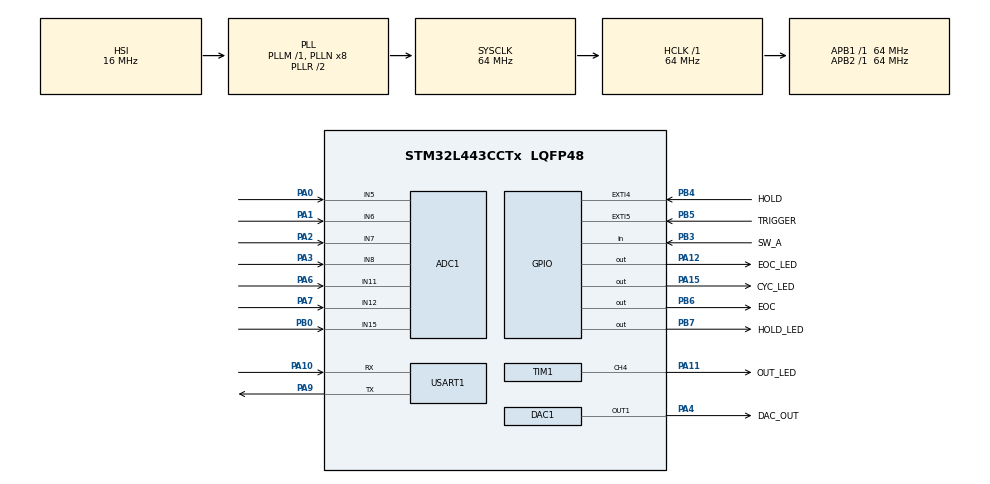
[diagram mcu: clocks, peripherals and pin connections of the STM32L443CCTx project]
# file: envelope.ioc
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ADC1.Channel-0\#ChannelRegularConversion=ADC_CHANNEL_5
ADC1.Channel-1\#ChannelRegularConversion=ADC_CHANNEL_6
ADC1.Channel-2\#ChannelRegularConversion=ADC_CHANNEL_7
ADC1.Channel-3\#ChannelRegularConversion=ADC_CHANNEL_8
ADC1.Channel-4\#ChannelRegularConversion=ADC_CHANNEL_11
ADC1.Channel-5\#ChannelRegularConversion=ADC_CHANNEL_12
ADC1.Channel-6\#ChannelRegularConversion=ADC_CHANNEL_15
ADC1.ClockPrescaler=ADC_CLOCK_ASYNC_DIV4
ADC1.DMAContinuousRequests=ENABLE
ADC1.EOCSelection=ADC_EOC_SINGLE_CONV
ADC1.ExternalTrigConv=ADC_EXTERNALTRIG_T2_TRGO
ADC1.NbrOfConversion=7
ADC1.NbrOfConversionFlag=1
ADC1.OffsetNumber-0\#ChannelRegularConversion=ADC_OFFSET_NONE
ADC1.OffsetNumber-1\#ChannelRegularConversion=ADC_OFFSET_NONE
ADC1.OffsetNumber-2\#ChannelRegularConversion=ADC_OFFSET_NONE
ADC1.OffsetNumber-3\#ChannelRegularConversion=ADC_OFFSET_NONE
ADC1.OffsetNumber-4\#ChannelRegularConversion=ADC_OFFSET_NONE
ADC1.OffsetNumber-5\#ChannelRegularConversion=ADC_OFFSET_NONE
ADC1.OffsetNumber-6\#ChannelRegularConversion=ADC_OFFSET_NONE
ADC1.OversamplingMode=DISABLE
ADC1.Rank-0\#ChannelRegularConversion=1
ADC1.Rank-1\#ChannelRegularConversion=2
ADC1.Rank-2\#ChannelRegularConversion=3
ADC1.Rank-3\#ChannelRegularConversion=4
ADC1.Rank-4\#ChannelRegularConversion=5
ADC1.Rank-5\#ChannelRegularConversion=6
ADC1.Rank-6\#ChannelRegularConversion=7
ADC1.SamplingTime-0\#ChannelRegularConversion=ADC_SAMPLETIME_6CYCLES_5
ADC1.SamplingTime-1\#ChannelRegularConversion=ADC_SAMPLETIME_6CYCLES_5
ADC1.SamplingTime-2\#ChannelRegularConversion=ADC_SAMPLETIME_6CYCLES_5
ADC1.SamplingTime-3\#ChannelRegularConversion=ADC_SAMPLETIME_6CYCLES_5
ADC1.SamplingTime-4\#ChannelRegularConversion=ADC_SAMPLETIME_6CYCLES_5
ADC1.SamplingTime-5\#ChannelRegularConversion=ADC_SAMPLETIME_6CYCLES_5
ADC1.SamplingTime-6\#ChannelRegularConversion=ADC_SAMPLETIME_6CYCLES_5
ADC1.master=1
DAC1.DAC_Trigger-DAC_OUT1_ExtAndInt=DAC_TRIGGER_T2_TRGO
Dma.ADC1.2.Direction=DMA_PERIPH_TO_MEMORY
Dma.ADC1.2.Instance=DMA1_Channel1
Dma.ADC1.2.MemDataAlignment=DMA_MDATAALIGN_HALFWORD
Dma.ADC1.2.MemInc=DMA_MINC_ENABLE
Dma.ADC1.2.Mode=DMA_CIRCULAR
Dma.ADC1.2.PeriphDataAlignment=DMA_PDATAALIGN_HALFWORD
Dma.ADC1.2.PeriphInc=DMA_PINC_DISABLE
Dma.ADC1.2.Priority=DMA_PRIORITY_MEDIUM
Dma.DAC_CH1.3.Direction=DMA_MEMORY_TO_PERIPH
Dma.DAC_CH1.3.Instance=DMA1_Channel3
Dma.DAC_CH1.3.MemDataAlignment=DMA_MDATAALIGN_HALFWORD
Dma.DAC_CH1.3.MemInc=DMA_MINC_ENABLE
Dma.DAC_CH1.3.Mode=DMA_NORMAL
Dma.DAC_CH1.3.PeriphDataAlignment=DMA_PDATAALIGN_HALFWORD
Dma.DAC_CH1.3.PeriphInc=DMA_PINC_DISABLE
Dma.DAC_CH1.3.Priority=DMA_PRIORITY_MEDIUM
Dma.Request0=USART1_RX
Dma.Request1=USART1_TX
Dma.Request2=ADC1
Dma.Request3=DAC_CH1
Dma.USART1_RX.0.Direction=DMA_PERIPH_TO_MEMORY
Dma.USART1_RX.0.Instance=DMA1_Channel5
Dma.USART1_RX.0.MemDataAlignment=DMA_MDATAALIGN_BYTE
Dma.USART1_RX.0.MemInc=DMA_MINC_ENABLE
Dma.USART1_RX.0.Mode=DMA_NORMAL
Dma.USART1_RX.0.PeriphDataAlignment=DMA_PDATAALIGN_BYTE
Dma.USART1_RX.0.PeriphInc=DMA_PINC_DISABLE
Dma.USART1_RX.0.Priority=DMA_PRIORITY_LOW
Dma.USART1_TX.1.Direction=DMA_MEMORY_TO_PERIPH
Dma.USART1_TX.1.Instance=DMA1_Channel4
Dma.USART1_TX.1.MemDataAlignment=DMA_MDATAALIGN_BYTE
Dma.USART1_TX.1.MemInc=DMA_MINC_ENABLE
Dma.USART1_TX.1.Mode=DMA_NORMAL
Dma.USART1_TX.1.PeriphDataAlignment=DMA_PDATAALIGN_BYTE
Dma.USART1_TX.1.PeriphInc=DMA_PINC_DISABLE
Dma.USART1_TX.1.Priority=DMA_PRIORITY_LOW
Mcu.Family=STM32L4
Mcu.Name=STM32L443CCTx
Mcu.Package=LQFP48
NVIC.ADC1_IRQn=true\:0\:0\:false\:false\:true\:true\:true
NVIC.DMA1_Channel1_IRQn=true\:0\:0\:false\:false\:true\:false\:true
NVIC.DMA1_Channel3_IRQn=true\:0\:0\:false\:false\:true\:false\:true
NVIC.DMA1_Channel4_IRQn=true\:0\:0\:false\:false\:true\:false\:true
NVIC.DMA1_Channel5_IRQn=true\:0\:0\:false\:false\:true\:false\:true
NVIC.EXTI4_IRQn=true\:3\:0\:true\:false\:true\:true\:true
NVIC.EXTI9_5_IRQn=true\:3\:0\:true\:false\:true\:true\:true
NVIC.PriorityGroup=NVIC_PRIORITYGROUP_4
NVIC.TIM2_IRQn=true\:0\:0\:false\:false\:true\:true\:true
NVIC.TIM6_DAC_IRQn=true\:0\:0\:false\:false\:true\:true\:true
NVIC.USART1_IRQn=true\:4\:0\:true\:false\:true\:true\:true
PA0.Signal=ADCx_IN5
PA1.Signal=ADCx_IN6
PA10.Mode=Asynchronous
PA10.Signal=USART1_RX
PA11.GPIO_Label=OUT_LED
PA11.Signal=S_TIM1_CH4
PA12.GPIO_Label=EOC_LED
PA12.Signal=GPIO_Output
PA13\ (JTMS-SWDIO).Mode=Serial_Wire
PA13\ (JTMS-SWDIO).Signal=SYS_JTMS-SWDIO
PA14\ (JTCK-SWCLK).Mode=Serial_Wire
PA14\ (JTCK-SWCLK).Signal=SYS_JTCK-SWCLK
PA15\ (JTDI).GPIO_Label=CYC_LED
PA15\ (JTDI).Signal=GPIO_Output
PA2.Signal=ADCx_IN7
PA3.Signal=ADCx_IN8
PA4.GPIO_Label=DAC_OUT
PA4.Signal=COMP_DAC11_group
PA6.Signal=ADCx_IN11
PA7.Signal=ADCx_IN12
PA9.Mode=Asynchronous
PA9.Signal=USART1_TX
PB0.Signal=ADCx_IN15
PB3\ (JTDO-TRACESWO).GPIO_Label=SW_A
PB3\ (JTDO-TRACESWO).GPIO_PuPd=GPIO_PULLUP
PB3\ (JTDO-TRACESWO).Signal=GPIO_Input
PB4\ (NJTRST).GPIO_Label=HOLD
PB4\ (NJTRST).GPIO_ModeDefaultEXTI=GPIO_MODE_IT_RISING_FALLING
PB4\ (NJTRST).Signal=GPXTI4
PB5.GPIO_Label=TRIGGER
PB5.GPIO_ModeDefaultEXTI=GPIO_MODE_IT_RISING_FALLING
PB5.Signal=GPXTI5
PB6.GPIO_Label=EOC
PB6.Signal=GPIO_Output
PB7.GPIO_Label=HOLD_LED
PB7.Signal=GPIO_Output
ProjectManager.HeapSize=0x200
ProjectManager.StackSize=0x400
ProjectManager.TargetToolchain=Makefile
RCC.ADCFreq_Value=64000000
RCC.AHBFreq_Value=64000000
RCC.APB1Freq_Value=64000000
RCC.APB1TimFreq_Value=64000000
RCC.APB2Freq_Value=64000000
RCC.APB2TimFreq_Value=64000000
RCC.CortexFreq_Value=64000000
RCC.HCLKFreq_Value=64000000
RCC.HSE_VALUE=8000000
RCC.HSI48_VALUE=48000000
RCC.HSI_VALUE=16000000
RCC.LSE_VALUE=32768
RCC.MSI_VALUE=4000000
RCC.PLLSourceVirtual=RCC_PLLSOURCE_HSI
RCC.SYSCLKFreq_VALUE=64000000
RCC.SYSCLKSource=RCC_SYSCLKSOURCE_PLLCLK
RCC.USBFreq_Value=64000000
RCC.VCOOutputFreq_Value=128000000
SH.ADCx_IN11.0=ADC1_IN11,IN11-Single-Ended
SH.ADCx_IN12.0=ADC1_IN12,IN12-Single-Ended
SH.ADCx_IN15.0=ADC1_IN15,IN15-Single-Ended
SH.ADCx_IN5.0=ADC1_IN5,IN5-Single-Ended
SH.ADCx_IN6.0=ADC1_IN6,IN6-Single-Ended
SH.ADCx_IN7.0=ADC1_IN7,IN7-Single-Ended
SH.ADCx_IN8.0=ADC1_IN8,IN8-Single-Ended
SH.COMP_DAC11_group.0=DAC1_OUT1,DAC_OUT1_ExtAndInt
SH.S_TIM1_CH4.0=TIM1_CH4,PWM Generation4 CH4
TIM1.Channel-PWM\ Generation4\ CH4=TIM_CHANNEL_4
TIM1.Period=255
TIM1.Prescaler=984
TIM2.Period=1450
TIM2.TIM_MasterOutputTrigger=TIM_TRGO_UPDATE
TIM6.Period=1000
TIM6.TIM_MasterOutputTrigger=TIM_TRGO_UPDATE
TIM7.Period=49000
TIM7.TIM_MasterOutputTrigger=TIM_TRGO_UPDATE
USART1.VirtualMode-Asynchronous=VM_ASYNC
VP_TIM1_VS_ClockSourceINT.Mode=Internal
VP_TIM1_VS_ClockSourceITR.Mode=TriggerSource_ITR1
VP_TIM1_VS_ControllerModeTrigger.Mode=Trigger Mode
VP_TIM2_VS_ClockSourceINT.Mode=Internal
VP_TIM6_VS_ClockSourceINT.Mode=Enable_Timer
VP_TIM7_VS_ClockSourceINT.Mode=Enable_Timer
board=custom

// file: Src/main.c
/* USER CODE BEGIN Header */
/**
  ******************************************************************************
  * @file           : main.c
  * @brief          : Main program body
  ******************************************************************************
  * @attention
  *
  * <h2><center>&copy; Copyright (c) 2019 STMicroelectronics.
  * All rights reserved.</center></h2>
  *
  * This software component is licensed by ST under BSD 3-Clause license,
  * the "License"; You may not use this file except in compliance with the
  * License. You may obtain a copy of the License at:
  *                        opensource.org/licenses/BSD-3-Clause
  *
  ******************************************************************************
  */
/* USER CODE END Header */

#include "main.h"

/* USER CODE BEGIN Includes */
#include <string.h>
#include <math.h>
#include <stdio.h>
#include <stdlib.h>
/* USER CODE END Includes */

/* USER CODE BEGIN PTD */
enum CLI_COMMAND
{
  CLI_ERR,
  CLI_REF,
  CLI_DAC,
  CLI_VOUT,
  CLI_CAL,
  CLI_SAVE,
  CLI_LOAD,
  CLI_SIZE,
  CLI_RESET,
  CLI_HELP
};
/* USER CODE END PTD */

/* USER CODE BEGIN PD */
#define DRAWCSV 0
#define FLASH_USER_ADDR 0x08010000 /* Start @ of user Flash area */
/* USER CODE END PD */

/* USER CODE BEGIN PM */
#define log(M, ...)                                                                   \
  sprintf(uartMessage, "[LOG] (%s:%d) - " M "\n", __FILE__, __LINE__, ##__VA_ARGS__); \
  HAL_UART_Transmit(&huart1, (uint8_t *)uartMessage, strlen(uartMessage), HAL_MAX_DELAY);

#define printcl(M, ...)                               \
  sprintf(uartMessage, "\033[K" M "", ##__VA_ARGS__); \
  HAL_UART_Transmit(&huart1, (uint8_t *)uartMessage, strlen(uartMessage), HAL_MAX_DELAY);

#define print(M, ...)                           \
  sprintf(uartMessage, "" M "", ##__VA_ARGS__); \
  HAL_UART_Transmit(&huart1, (uint8_t *)uartMessage, strlen(uartMessage), HAL_MAX_DELAY);
/* USER CODE END PM */

ADC_HandleTypeDef hadc1;
DMA_HandleTypeDef hdma_adc1;

DAC_HandleTypeDef hdac1;
DMA_HandleTypeDef hdma_dac_ch1;

TIM_HandleTypeDef htim1;
TIM_HandleTypeDef htim2;
TIM_HandleTypeDef htim6;
TIM_HandleTypeDef htim7;

UART_HandleTypeDef huart1;
DMA_HandleTypeDef hdma_usart1_rx;
DMA_HandleTypeDef hdma_usart1_tx;

/* USER CODE BEGIN PV */

volatile GPIO_PinState switchState;
volatile GPIO_PinState triggerState;
volatile GPIO_PinState holdState;
volatile uint8_t outLedVal;
volatile uint16_t adcValues[7];
volatile uint16_t dacValue[1];
uint16_t targetDac;
char uartMessage[255];

volatile uint32_t printTime = 0;
volatile uint32_t EOC_Time = 0;
uint8_t TRIGGER_HOLD = 0;
uint8_t RETRIGGER = 0;
uint8_t RANDOM = 2;
uint8_t CYCLE_START = 0;

// Callibration Defines
const int ADC_RESOLUTION = 12;
uint16_t SAMPLES = 50; // 5000

uint16_t MAXADC;                 // maximum possible reading from ADC
float VREF = 3.3;                // ADC reference voltage (= power supply)
float VINPUT = 1.65;             // ADC input voltage from Normalized Jack
int16_t EXPECTED;                // expected ADC reading
int16_t adcCalibration[7] = {0}; // calibration table;
int16_t dacCalibration = 0;
int16_t adcOffset[7] = {0}; // offset table;

uint8_t cycle_state = 0;

float attack = 0.0;
float attack_controls = 0.0;
float release = 0.0;
float release_controls = 0.0;
float shape = 0.0;
float randomA = 0.0;
float randomR = 0.0;

float SAMPLERATE = 0;
const uint32_t TARGET_OFFSET = 127;
volatile uint8_t running;
volatile uint32_t attackT;
volatile uint32_t releaseT;
volatile uint32_t a;
volatile uint32_t xn;
volatile uint32_t yn1;
/* USER CODE END PV */

void SystemClock_Config(void);
static void MX_GPIO_Init(void);
static void MX_DMA_Init(void);
static void MX_ADC1_Init(void);
static void MX_DAC1_Init(void);
static void MX_TIM1_Init(void);
static void MX_TIM2_Init(void);
static void MX_TIM6_Init(void);
static void MX_TIM7_Init(void);
static void MX_USART1_UART_Init(void);
/* USER CODE BEGIN PFP */
static void LED_introSequence(void);
static GPIO_PinState read_Switch(void);
static void setPWM(uint8_t);

static uint16_t read_ADC_Raw(ADC_Inputs);
static float read_ADC_Normalized(ADC_Inputs);
static float read_ADC_Voltage(ADC_Inputs);
static void Write_Flash(uint32_t, uint32_t *, uint32_t);
static uint32_t Read_Flash(uint32_t);
static uint32_t Get_Page(uint32_t);
static void save_Calibration(void);
static void load_Calibration(void);
static void attack_Time(float);
static void release_Time(float);
static void noteOn();
static void noteOff();
/* USER CODE END PFP */

int main(void)
{

  /* MCU Configuration--------------------------------------------------------*/

  /* Reset of all peripherals, Initializes the Flash interface and the Systick. */
  HAL_Init();

  /* Configure the system clock */
  SystemClock_Config();

  /* Initialize all configured peripherals */
  MX_GPIO_Init();
  MX_DMA_Init();
  MX_ADC1_Init();
  MX_DAC1_Init();
  MX_TIM1_Init();
  MX_TIM2_Init();
  MX_TIM6_Init();
  MX_TIM7_Init();
  MX_USART1_UART_Init();
  /* USER CODE BEGIN 2 */
  dacValue[0] = 0;
  MAXADC = (1 << ADC_RESOLUTION) - 1;  // maximum possible reading from ADC
  EXPECTED = MAXADC * (VINPUT / VREF); // expected ADC reading

  SAMPLERATE = HAL_RCC_GetHCLKFreq() / (float)htim2.Init.Period;

  HAL_DAC_Init(&hdac1);
  HAL_TIM_PWM_Start(&htim1, TIM_CHANNEL_4);
  HAL_TIM_Base_Start_IT(&htim2);
  HAL_ADC_Start_DMA(&hadc1, (uint32_t *)adcValues, 7);
  HAL_DAC_Start_DMA(&hdac1, DAC_CHANNEL_1, (uint32_t *)dacValue, 1, DAC_ALIGN_12B_R);

  load_Calibration();
  LED_introSequence();
  outLedVal = 0;

  a = 0;
  xn = 0;
  yn1 = 0;
  attack_Time(0.0);
  release_Time(0.0);
  running = 0;

  cycle_state = CYCLE_START;
  HAL_GPIO_WritePin(CYC_LED_GPIO_Port, CYC_LED_Pin, cycle_state);
  if (cycle_state)
  {
    noteOn();
  }
  /* USER CODE END 2 */

  /* Infinite loop */
  /* USER CODE BEGIN WHILE */
  while (1)
  {
    read_Switch();

    attack = read_ADC_Normalized(ADC_ATTACK_POT) + read_ADC_Normalized(ADC_ATTACK_CV) + randomA;
    if (attack < 0.0008)
      attack = 0.0;
    if (attack > 1.0)
      attack = 1.0;

    release = read_ADC_Normalized(ADC_RELEASE_POT) + read_ADC_Normalized(ADC_RELEASE_CV) + randomR;
    if (release < 0.0008)
      release = 0.0;
    if (release > 1.0)
      release = 1.0;

    shape = read_ADC_Normalized(ADC_SHAPE_Pot) + read_ADC_Normalized(ADC_SHAPE_CV);
    if (shape < 0.0008)
      shape = 0.0;
    if (shape > 1.0)
      shape = 1.0;

    attack_controls = pow(2.0, attack * 10.0 - 10.0) * 10000.0 - 9.76;
    release_controls = pow(2.0, release * 10.0 - 10.0) * 10000.0 - 0.0;
    attack_Time(attack_controls);
    release_Time(release_controls);

    if (HAL_GetTick() - EOC_Time > 10)
    {
      HAL_GPIO_WritePin(EOC_LED_GPIO_Port, EOC_LED_Pin, GPIO_PIN_RESET);
      HAL_GPIO_WritePin(EOC_GPIO_Port, EOC_Pin, GPIO_PIN_SET);
    }

    //log("running: %d dac: %ld\n", running, targetDac);

    /* USER CODE END WHILE */

    /* USER CODE BEGIN 3 */
    outLedVal = targetDac >> 4;
    setPWM(outLedVal);
  }
  /* USER CODE END 3 */
}

void SystemClock_Config(void)
{
  RCC_OscInitTypeDef RCC_OscInitStruct = {0};
  RCC_ClkInitTypeDef RCC_ClkInitStruct = {0};
  RCC_PeriphCLKInitTypeDef PeriphClkInit = {0};

  /** Initializes the CPU, AHB and APB busses clocks
  */
  RCC_OscInitStruct.OscillatorType = RCC_OSCILLATORTYPE_HSI;
  RCC_OscInitStruct.HSIState = RCC_HSI_ON;
  RCC_OscInitStruct.HSICalibrationValue = RCC_HSICALIBRATION_DEFAULT;
  RCC_OscInitStruct.PLL.PLLState = RCC_PLL_ON;
  RCC_OscInitStruct.PLL.PLLSource = RCC_PLLSOURCE_HSI;
  RCC_OscInitStruct.PLL.PLLM = 1;
  RCC_OscInitStruct.PLL.PLLN = 8;
  RCC_OscInitStruct.PLL.PLLP = RCC_PLLP_DIV7;
  RCC_OscInitStruct.PLL.PLLQ = RCC_PLLQ_DIV2;
  RCC_OscInitStruct.PLL.PLLR = RCC_PLLR_DIV2;
  if (HAL_RCC_OscConfig(&RCC_OscInitStruct) != HAL_OK)
  {
    Error_Handler();
  }
  /** Initializes the CPU, AHB and APB busses clocks
  */
  RCC_ClkInitStruct.ClockType = RCC_CLOCKTYPE_HCLK | RCC_CLOCKTYPE_SYSCLK | RCC_CLOCKTYPE_PCLK1 | RCC_CLOCKTYPE_PCLK2;
  RCC_ClkInitStruct.SYSCLKSource = RCC_SYSCLKSOURCE_PLLCLK;
  RCC_ClkInitStruct.AHBCLKDivider = RCC_SYSCLK_DIV1;
  RCC_ClkInitStruct.APB1CLKDivider = RCC_HCLK_DIV1;
  RCC_ClkInitStruct.APB2CLKDivider = RCC_HCLK_DIV1;

  if (HAL_RCC_ClockConfig(&RCC_ClkInitStruct, FLASH_LATENCY_3) != HAL_OK)
  {
    Error_Handler();
  }
  PeriphClkInit.PeriphClockSelection = RCC_PERIPHCLK_USART1 | RCC_PERIPHCLK_ADC;
  PeriphClkInit.Usart1ClockSelection = RCC_USART1CLKSOURCE_PCLK2;
  PeriphClkInit.AdcClockSelection = RCC_ADCCLKSOURCE_PLLSAI1;
  PeriphClkInit.PLLSAI1.PLLSAI1Source = RCC_PLLSOURCE_HSI;
  PeriphClkInit.PLLSAI1.PLLSAI1M = 1;
  PeriphClkInit.PLLSAI1.PLLSAI1N = 8;
  PeriphClkInit.PLLSAI1.PLLSAI1P = RCC_PLLP_DIV7;
  PeriphClkInit.PLLSAI1.PLLSAI1Q = RCC_PLLQ_DIV2;
  PeriphClkInit.PLLSAI1.PLLSAI1R = RCC_PLLR_DIV2;
  PeriphClkInit.PLLSAI1.PLLSAI1ClockOut = RCC_PLLSAI1_ADC1CLK;
  if (HAL_RCCEx_PeriphCLKConfig(&PeriphClkInit) != HAL_OK)
  {
    Error_Handler();
  }
  /** Configure the main internal regulator output voltage
  */
  if (HAL_PWREx_ControlVoltageScaling(PWR_REGULATOR_VOLTAGE_SCALE1) != HAL_OK)
  {
    Error_Handler();
  }
}

static void MX_ADC1_Init(void)
{

  ADC_ChannelConfTypeDef sConfig = {0};

  /** Common config
  */
  hadc1.Instance = ADC1;
  hadc1.Init.ClockPrescaler = ADC_CLOCK_ASYNC_DIV4;
  hadc1.Init.Resolution = ADC_RESOLUTION_12B;
  hadc1.Init.DataAlign = ADC_DATAALIGN_RIGHT;
  hadc1.Init.ScanConvMode = ADC_SCAN_ENABLE;
  hadc1.Init.EOCSelection = ADC_EOC_SINGLE_CONV;
  hadc1.Init.LowPowerAutoWait = DISABLE;
  hadc1.Init.ContinuousConvMode = DISABLE;
  hadc1.Init.NbrOfConversion = 7;
  hadc1.Init.DiscontinuousConvMode = DISABLE;
  hadc1.Init.ExternalTrigConv = ADC_EXTERNALTRIG_T2_TRGO;
  hadc1.Init.ExternalTrigConvEdge = ADC_EXTERNALTRIGCONVEDGE_RISING;
  hadc1.Init.DMAContinuousRequests = ENABLE;
  hadc1.Init.Overrun = ADC_OVR_DATA_PRESERVED;
  hadc1.Init.OversamplingMode = DISABLE;
  if (HAL_ADC_Init(&hadc1) != HAL_OK)
  {
    Error_Handler();
  }
  /** Configure Regular Channel
  */
  sConfig.Channel = ADC_CHANNEL_5;
  sConfig.Rank = ADC_REGULAR_RANK_1;
  sConfig.SamplingTime = ADC_SAMPLETIME_6CYCLES_5;
  sConfig.SingleDiff = ADC_SINGLE_ENDED;
  sConfig.OffsetNumber = ADC_OFFSET_NONE;
  sConfig.Offset = 0;
  if (HAL_ADC_ConfigChannel(&hadc1, &sConfig) != HAL_OK)
  {
    Error_Handler();
  }
  /** Configure Regular Channel
  */
  sConfig.Channel = ADC_CHANNEL_6;
  sConfig.Rank = ADC_REGULAR_RANK_2;
  if (HAL_ADC_ConfigChannel(&hadc1, &sConfig) != HAL_OK)
  {
    Error_Handler();
  }
  /** Configure Regular Channel
  */
  sConfig.Channel = ADC_CHANNEL_7;
  sConfig.Rank = ADC_REGULAR_RANK_3;
  if (HAL_ADC_ConfigChannel(&hadc1, &sConfig) != HAL_OK)
  {
    Error_Handler();
  }
  /** Configure Regular Channel
  */
  sConfig.Channel = ADC_CHANNEL_8;
  sConfig.Rank = ADC_REGULAR_RANK_4;
  if (HAL_ADC_ConfigChannel(&hadc1, &sConfig) != HAL_OK)
  {
    Error_Handler();
  }
  /** Configure Regular Channel
  */
  sConfig.Channel = ADC_CHANNEL_11;
  sConfig.Rank = ADC_REGULAR_RANK_5;
  if (HAL_ADC_ConfigChannel(&hadc1, &sConfig) != HAL_OK)
  {
    Error_Handler();
  }
  /** Configure Regular Channel
  */
  sConfig.Channel = ADC_CHANNEL_12;
  sConfig.Rank = ADC_REGULAR_RANK_6;
  if (HAL_ADC_ConfigChannel(&hadc1, &sConfig) != HAL_OK)
  {
    Error_Handler();
  }
  /** Configure Regular Channel
  */
  sConfig.Channel = ADC_CHANNEL_15;
  sConfig.Rank = ADC_REGULAR_RANK_7;
  if (HAL_ADC_ConfigChannel(&hadc1, &sConfig) != HAL_OK)
  {
    Error_Handler();
  }
}

static void MX_DAC1_Init(void)
{

  DAC_ChannelConfTypeDef sConfig = {0};

  /** DAC Initialization
  */
  hdac1.Instance = DAC1;
  if (HAL_DAC_Init(&hdac1) != HAL_OK)
  {
    Error_Handler();
  }
  /** DAC channel OUT1 config
  */
  sConfig.DAC_SampleAndHold = DAC_SAMPLEANDHOLD_DISABLE;
  sConfig.DAC_Trigger = DAC_TRIGGER_T2_TRGO;
  sConfig.DAC_OutputBuffer = DAC_OUTPUTBUFFER_DISABLE;
  sConfig.DAC_ConnectOnChipPeripheral = DAC_CHIPCONNECT_DISABLE;
  sConfig.DAC_UserTrimming = DAC_TRIMMING_FACTORY;
  if (HAL_DAC_ConfigChannel(&hdac1, &sConfig, DAC_CHANNEL_1) != HAL_OK)
  {
    Error_Handler();
  }
}

static void MX_TIM1_Init(void)
{

  TIM_ClockConfigTypeDef sClockSourceConfig = {0};
  TIM_SlaveConfigTypeDef sSlaveConfig = {0};
  TIM_MasterConfigTypeDef sMasterConfig = {0};
  TIM_OC_InitTypeDef sConfigOC = {0};
  TIM_BreakDeadTimeConfigTypeDef sBreakDeadTimeConfig = {0};

  htim1.Instance = TIM1;
  htim1.Init.Prescaler = 984;
  htim1.Init.CounterMode = TIM_COUNTERMODE_UP;
  htim1.Init.Period = 255;
  htim1.Init.ClockDivision = TIM_CLOCKDIVISION_DIV1;
  htim1.Init.RepetitionCounter = 0;
  htim1.Init.AutoReloadPreload = TIM_AUTORELOAD_PRELOAD_DISABLE;
  if (HAL_TIM_Base_Init(&htim1) != HAL_OK)
  {
    Error_Handler();
  }
  sClockSourceConfig.ClockSource = TIM_CLOCKSOURCE_INTERNAL;
  if (HAL_TIM_ConfigClockSource(&htim1, &sClockSourceConfig) != HAL_OK)
  {
    Error_Handler();
  }
  if (HAL_TIM_PWM_Init(&htim1) != HAL_OK)
  {
    Error_Handler();
  }
  sSlaveConfig.SlaveMode = TIM_SLAVEMODE_TRIGGER;
  sSlaveConfig.InputTrigger = TIM_TS_ITR1;
  if (HAL_TIM_SlaveConfigSynchronization(&htim1, &sSlaveConfig) != HAL_OK)
  {
    Error_Handler();
  }
  sMasterConfig.MasterOutputTrigger = TIM_TRGO_RESET;
  sMasterConfig.MasterOutputTrigger2 = TIM_TRGO2_RESET;
  sMasterConfig.MasterSlaveMode = TIM_MASTERSLAVEMODE_DISABLE;
  if (HAL_TIMEx_MasterConfigSynchronization(&htim1, &sMasterConfig) != HAL_OK)
  {
    Error_Handler();
  }
  sConfigOC.OCMode = TIM_OCMODE_PWM1;
  sConfigOC.Pulse = 0;
  sConfigOC.OCPolarity = TIM_OCPOLARITY_HIGH;
  sConfigOC.OCFastMode = TIM_OCFAST_DISABLE;
  sConfigOC.OCIdleState = TIM_OCIDLESTATE_RESET;
  sConfigOC.OCNIdleState = TIM_OCNIDLESTATE_RESET;
  if (HAL_TIM_PWM_ConfigChannel(&htim1, &sConfigOC, TIM_CHANNEL_4) != HAL_OK)
  {
    Error_Handler();
  }
  sBreakDeadTimeConfig.OffStateRunMode = TIM_OSSR_DISABLE;
  sBreakDeadTimeConfig.OffStateIDLEMode = TIM_OSSI_DISABLE;
  sBreakDeadTimeConfig.LockLevel = TIM_LOCKLEVEL_OFF;
  sBreakDeadTimeConfig.DeadTime = 0;
  sBreakDeadTimeConfig.BreakState = TIM_BREAK_DISABLE;
  sBreakDeadTimeConfig.BreakPolarity = TIM_BREAKPOLARITY_HIGH;
  sBreakDeadTimeConfig.BreakFilter = 0;
  sBreakDeadTimeConfig.Break2State = TIM_BREAK2_DISABLE;
  sBreakDeadTimeConfig.Break2Polarity = TIM_BREAK2POLARITY_HIGH;
  sBreakDeadTimeConfig.Break2Filter = 0;
  sBreakDeadTimeConfig.AutomaticOutput = TIM_AUTOMATICOUTPUT_DISABLE;
  if (HAL_TIMEx_ConfigBreakDeadTime(&htim1, &sBreakDeadTimeConfig) != HAL_OK)
  {
    Error_Handler();
  }
  HAL_TIM_MspPostInit(&htim1);
}

static void MX_TIM2_Init(void)
{

  TIM_ClockConfigTypeDef sClockSourceConfig = {0};
  TIM_MasterConfigTypeDef sMasterConfig = {0};

  htim2.Instance = TIM2;
  htim2.Init.Prescaler = 0;
  htim2.Init.CounterMode = TIM_COUNTERMODE_UP;
  htim2.Init.Period = 1450;
  htim2.Init.ClockDivision = TIM_CLOCKDIVISION_DIV1;
  htim2.Init.AutoReloadPreload = TIM_AUTORELOAD_PRELOAD_DISABLE;
  if (HAL_TIM_Base_Init(&htim2) != HAL_OK)
  {
    Error_Handler();
  }
  sClockSourceConfig.ClockSource = TIM_CLOCKSOURCE_INTERNAL;
  if (HAL_TIM_ConfigClockSource(&htim2, &sClockSourceConfig) != HAL_OK)
  {
    Error_Handler();
  }
  sMasterConfig.MasterOutputTrigger = TIM_TRGO_UPDATE;
  sMasterConfig.MasterSlaveMode = TIM_MASTERSLAVEMODE_DISABLE;
  if (HAL_TIMEx_MasterConfigSynchronization(&htim2, &sMasterConfig) != HAL_OK)
  {
    Error_Handler();
  }
}

static void MX_TIM6_Init(void)
{

  TIM_MasterConfigTypeDef sMasterConfig = {0};

  htim6.Instance = TIM6;
  htim6.Init.Prescaler = 0;
  htim6.Init.CounterMode = TIM_COUNTERMODE_UP;
  htim6.Init.Period = 1000;
  htim6.Init.AutoReloadPreload = TIM_AUTORELOAD_PRELOAD_DISABLE;
  if (HAL_TIM_Base_Init(&htim6) != HAL_OK)
  {
    Error_Handler();
  }
  sMasterConfig.MasterOutputTrigger = TIM_TRGO_UPDATE;
  sMasterConfig.MasterSlaveMode = TIM_MASTERSLAVEMODE_DISABLE;
  if (HAL_TIMEx_MasterConfigSynchronization(&htim6, &sMasterConfig) != HAL_OK)
  {
    Error_Handler();
  }
}

static void MX_TIM7_Init(void)
{

  TIM_MasterConfigTypeDef sMasterConfig = {0};

  htim7.Instance = TIM7;
  htim7.Init.Prescaler = 0;
  htim7.Init.CounterMode = TIM_COUNTERMODE_UP;
  htim7.Init.Period = 49000;
  htim7.Init.AutoReloadPreload = TIM_AUTORELOAD_PRELOAD_DISABLE;
  if (HAL_TIM_Base_Init(&htim7) != HAL_OK)
  {
    Error_Handler();
  }
  sMasterConfig.MasterOutputTrigger = TIM_TRGO_UPDATE;
  sMasterConfig.MasterSlaveMode = TIM_MASTERSLAVEMODE_DISABLE;
  if (HAL_TIMEx_MasterConfigSynchronization(&htim7, &sMasterConfig) != HAL_OK)
  {
    Error_Handler();
  }
}

static void MX_USART1_UART_Init(void)
{

  huart1.Instance = USART1;
  huart1.Init.BaudRate = 115200;
  huart1.Init.WordLength = UART_WORDLENGTH_8B;
  huart1.Init.StopBits = UART_STOPBITS_1;
  huart1.Init.Parity = UART_PARITY_NONE;
  huart1.Init.Mode = UART_MODE_TX_RX;
  huart1.Init.HwFlowCtl = UART_HWCONTROL_NONE;
  huart1.Init.OverSampling = UART_OVERSAMPLING_16;
  huart1.Init.OneBitSampling = UART_ONE_BIT_SAMPLE_DISABLE;
  huart1.AdvancedInit.AdvFeatureInit = UART_ADVFEATURE_NO_INIT;
  if (HAL_UART_Init(&huart1) != HAL_OK)
  {
    Error_Handler();
  }
}

static void MX_DMA_Init(void)
{

  /* DMA controller clock enable */
  __HAL_RCC_DMA1_CLK_ENABLE();

  /* DMA interrupt init */
  /* DMA1_Channel1_IRQn interrupt configuration */
  HAL_NVIC_SetPriority(DMA1_Channel1_IRQn, 0, 0);
  HAL_NVIC_EnableIRQ(DMA1_Channel1_IRQn);
  /* DMA1_Channel3_IRQn interrupt configuration */
  HAL_NVIC_SetPriority(DMA1_Channel3_IRQn, 0, 0);
  HAL_NVIC_EnableIRQ(DMA1_Channel3_IRQn);
  /* DMA1_Channel4_IRQn interrupt configuration */
  HAL_NVIC_SetPriority(DMA1_Channel4_IRQn, 0, 0);
  HAL_NVIC_EnableIRQ(DMA1_Channel4_IRQn);
  /* DMA1_Channel5_IRQn interrupt configuration */
  HAL_NVIC_SetPriority(DMA1_Channel5_IRQn, 0, 0);
  HAL_NVIC_EnableIRQ(DMA1_Channel5_IRQn);
}

static void MX_GPIO_Init(void)
{
  GPIO_InitTypeDef GPIO_InitStruct = {0};

  /* GPIO Ports Clock Enable */
  __HAL_RCC_GPIOA_CLK_ENABLE();
  __HAL_RCC_GPIOB_CLK_ENABLE();

  /*Configure GPIO pin Output Level */
  HAL_GPIO_WritePin(GPIOA, EOC_LED_Pin | CYC_LED_Pin, GPIO_PIN_RESET);

  /*Configure GPIO pin Output Level */
  HAL_GPIO_WritePin(GPIOB, EOC_Pin | HOLD_LED_Pin, GPIO_PIN_RESET);

  /*Configure GPIO pins : EOC_LED_Pin CYC_LED_Pin */
  GPIO_InitStruct.Pin = EOC_LED_Pin | CYC_LED_Pin;
  GPIO_InitStruct.Mode = GPIO_MODE_OUTPUT_PP;
  GPIO_InitStruct.Pull = GPIO_NOPULL;
  GPIO_InitStruct.Speed = GPIO_SPEED_FREQ_LOW;
  HAL_GPIO_Init(GPIOA, &GPIO_InitStruct);

  /*Configure GPIO pin : SW_A_Pin */
  GPIO_InitStruct.Pin = SW_A_Pin;
  GPIO_InitStruct.Mode = GPIO_MODE_INPUT;
  GPIO_InitStruct.Pull = GPIO_PULLUP;
  HAL_GPIO_Init(SW_A_GPIO_Port, &GPIO_InitStruct);

  /*Configure GPIO pins : HOLD_Pin TRIGGER_Pin */
  GPIO_InitStruct.Pin = HOLD_Pin | TRIGGER_Pin;
  GPIO_InitStruct.Mode = GPIO_MODE_IT_RISING_FALLING;
  GPIO_InitStruct.Pull = GPIO_NOPULL;
  HAL_GPIO_Init(GPIOB, &GPIO_InitStruct);

  /*Configure GPIO pins : EOC_Pin HOLD_LED_Pin */
  GPIO_InitStruct.Pin = EOC_Pin | HOLD_LED_Pin;
  GPIO_InitStruct.Mode = GPIO_MODE_OUTPUT_PP;
  GPIO_InitStruct.Pull = GPIO_NOPULL;
  GPIO_InitStruct.Speed = GPIO_SPEED_FREQ_LOW;
  HAL_GPIO_Init(GPIOB, &GPIO_InitStruct);

  /* EXTI interrupt init*/
  HAL_NVIC_SetPriority(EXTI4_IRQn, 3, 0);
  HAL_NVIC_EnableIRQ(EXTI4_IRQn);

  HAL_NVIC_SetPriority(EXTI9_5_IRQn, 3, 0);
  HAL_NVIC_EnableIRQ(EXTI9_5_IRQn);
}

/* USER CODE BEGIN 4 */
void LED_introSequence()
{
  HAL_GPIO_WritePin(CYC_LED_GPIO_Port, CYC_LED_Pin, GPIO_PIN_SET);
  HAL_Delay(100);
  HAL_GPIO_WritePin(HOLD_LED_GPIO_Port, HOLD_LED_Pin, GPIO_PIN_SET);
  HAL_Delay(100);
  HAL_GPIO_WritePin(EOC_LED_GPIO_Port, EOC_LED_Pin, GPIO_PIN_SET);
  HAL_Delay(100);
  setPWM(255);
  HAL_Delay(100);
  HAL_GPIO_WritePin(CYC_LED_GPIO_Port, CYC_LED_Pin, GPIO_PIN_RESET);
  HAL_Delay(100);
  HAL_GPIO_WritePin(HOLD_LED_GPIO_Port, HOLD_LED_Pin, GPIO_PIN_RESET);
  HAL_Delay(100);
  HAL_GPIO_WritePin(EOC_LED_GPIO_Port, EOC_LED_Pin, GPIO_PIN_RESET);
  HAL_Delay(100);
  setPWM(0);
  HAL_Delay(100);
}

GPIO_PinState read_Switch()
{
  GPIO_PinState t = HAL_GPIO_ReadPin(SW_A_GPIO_Port, SW_A_Pin);
  if (switchState != t)
  {
    switchState = t;
    if (switchState == GPIO_PIN_RESET)
    {
      //HAL_GPIO_TogglePin(CYC_LED_GPIO_Port, CYC_LED_Pin);
      if (cycle_state)
      {
        noteOff();
      }
      cycle_state = !cycle_state;
      HAL_GPIO_WritePin(CYC_LED_GPIO_Port, CYC_LED_Pin, cycle_state);
      if (cycle_state)
      {
        noteOn();
      }
    }
  }
  return t;
}

// Set PWM output value for OUT LED
void setPWM(uint8_t val)
{
  htim1.Instance->CCR4 = val;
}

// update function for DSP
void update()
{
  //HAL_GPIO_WritePin(HOLD_LED_GPIO_Port, HOLD_LED_Pin, GPIO_PIN_SET);

  uint32_t yn = 0;
  if (holdState == GPIO_PIN_RESET)
  {
    yn = (yn1 * (uint64_t)a >> 32) + (xn * (uint64_t)(UINT32_MAX - a) >> 32);
    yn1 = yn;
    //bp++ = (sample * (uint64_t)yn) >> 31;
    targetDac = yn >> 19;
  }

  if (running == 1)
  {
    if ((targetDac <= TARGET_OFFSET) && (yn >= xn))
    {
      running = 0;
      //log("Reached MIN\n");
      HAL_GPIO_WritePin(EOC_LED_GPIO_Port, EOC_LED_Pin, GPIO_PIN_SET);
      HAL_GPIO_WritePin(EOC_GPIO_Port, EOC_Pin, GPIO_PIN_RESET);
      EOC_Time = HAL_GetTick();
      if (cycle_state)
      {
        noteOn();
      }
      //return;
    }
    else if ((targetDac >= MAXADC - TARGET_OFFSET) && (yn <= xn))
    {
      running = 0;
      //log("Reached MAX\n");
      //if (cycle_state)
      if ((!TRIGGER_HOLD) || (cycle_state))
      {
        noteOff();
      }
      //HAL_GPIO_WritePin(EOC_LED_GPIO_Port, EOC_LED_Pin, GPIO_PIN_SET);
      //HAL_GPIO_WritePin(EOC_GPIO_Port, EOC_Pin, GPIO_PIN_RESET);
      //EOC_Time = HAL_GetTick();
      //return;
    }
  }

  dacValue[0] = targetDac;
  //HAL_GPIO_WritePin(HOLD_LED_GPIO_Port, HOLD_LED_Pin, GPIO_PIN_RESET);
}

// trigger input callback handler
void triggerHandler(GPIO_PinState state)
{
  triggerState = state;
  if (state == GPIO_PIN_SET)
  {
    noteOn();
  }
  else
  {
    if (TRIGGER_HOLD)
    {
      noteOff();
    }
  }
  //HAL_GPIO_WritePin(EOC_LED_GPIO_Port, EOC_LED_Pin, state);
}

// hold input callback handler
void holdHandler(GPIO_PinState state)
{
  holdState = state;
  HAL_GPIO_WritePin(HOLD_LED_GPIO_Port, HOLD_LED_Pin, state);
}

// ADC conversion complete callback handler
void HAL_ADC_ConvCpltCallback(ADC_HandleTypeDef *hadc)
{
  update();
  HAL_DAC_Start_DMA(&hdac1, DAC_CHANNEL_1, (uint32_t *)dacValue, 1, DAC_ALIGN_12B_R);
}

uint16_t read_ADC_Raw(ADC_Inputs pin)
{
  if (pin < 0)
    pin = 0;
  if (pin > 6)
    pin = 6;

  if (pin < 3) // potentiometers
    return adcValues[pin];
  else // CV
    return MAXADC - (adcValues[pin] - adcCalibration[pin]);
}

float read_ADC_Normalized(ADC_Inputs pin)
{
  if (pin < 0)
    pin = 0;
  if (pin > 6)
    pin = 6;

  if (pin < 3) // potentiometers
    return (float)adcValues[pin] / MAXADC;
  else // CV
    return (float)(adcValues[pin] - adcCalibration[pin]) / MAXADC * -2.0 + 1;
}

float read_ADC_Voltage(ADC_Inputs pin)
{
  if (pin < 0)
    pin = 0;
  if (pin > 6)
    pin = 6;

  if (pin < 3) // potentiometers
    return (float)adcValues[pin] / MAXADC * 3.3;
  else // CV
    return ((float)(adcValues[pin] - adcCalibration[pin]) / (float)MAXADC * 3.3) / -0.33 + 5;
}

void Write_Flash(uint32_t address, uint32_t *data, uint32_t size)
{
  HAL_FLASH_Unlock();
  __HAL_FLASH_CLEAR_FLAG(FLASH_FLAG_OPTVERR | FLASH_FLAG_EOP | FLASH_FLAG_OPERR | FLASH_FLAG_WRPERR | FLASH_FLAG_PGAERR | FLASH_FLAG_PGSERR);
  FLASH_EraseInitTypeDef EraseInitStruct;
  uint32_t PAGEError = 0;
  EraseInitStruct.TypeErase = FLASH_TYPEERASE_PAGES;
  EraseInitStruct.Banks = FLASH_BANK_1;
  EraseInitStruct.Page = Get_Page(address);
  EraseInitStruct.NbPages = 1;
  HAL_FLASHEx_Erase(&EraseInitStruct, &PAGEError);
  __disable_irq();
  for (int i = 0; i < size; i++)
  {
    HAL_FLASH_Program(FLASH_TYPEPROGRAM_DOUBLEWORD, address, data[i]);
    address += 8;
  }
  __enable_irq();
  HAL_FLASH_Lock();
}

uint32_t Read_Flash(uint32_t address)
{
  return *(__IO uint32_t *)address;
}

/**
  * @brief  Gets the page of a given address
  * @param  Addr: Address of the FLASH Memory
  * @retval The page of a given address
  */
static uint32_t Get_Page(uint32_t Addr)
{
  uint32_t page = 0;

  if (Addr < (FLASH_BASE + FLASH_BANK_SIZE))
  {
    /* Bank 1 */
    page = (Addr - FLASH_BASE) / FLASH_PAGE_SIZE;
  }
  else
  {
    /* Bank 2 */
    page = (Addr - (FLASH_BASE + FLASH_BANK_SIZE)) / FLASH_PAGE_SIZE;
  }

  return page;
}

void load_Calibration(void)
{
  if (Read_Flash(FLASH_USER_ADDR) == 0xDEAD)
  {
    uint32_t address = FLASH_USER_ADDR + 8;
    for (int i = 0; i < 7; i++)
    {
      adcCalibration[i] = (int32_t)Read_Flash(address);
      address += 8;
    }
    dacCalibration = (int32_t)Read_Flash(address);
    address += 8;
    //TRIGGER_HOLD = (uint8_t)Read_Flash(address);
    address += 8;
    //RANDOM = (uint8_t)Read_Flash(address);
    address += 8;
    //CYCLE_START = (uint8_t)Read_Flash(address);
    address += 8;
    //RETRIGGER = (uint8_t)Read_Flash(address);
  }
  else
  {
    log("No Calibration Data");
  }
}

void save_Calibration(void)
{
  uint32_t flashData[11] = {0};
  flashData[0] = 0xDEAD;
  for (int i = 0; i < 7; i++)
  {
    flashData[i + 1] = adcCalibration[i];
  }
  flashData[8] = dacCalibration;
  flashData[9] = TRIGGER_HOLD;
  flashData[10] = RANDOM;
  Write_Flash(FLASH_USER_ADDR, flashData, 11);
}

void attack_Time(float millis)
{
  millis /= 1000.0;
  float tau = millis * (1.0 - 2.0 / 3.0);
  attackT = tau / (tau + 1.0 / SAMPLERATE) * UINT32_MAX;
  //log("Attack: %f\n", millis);
}

void release_Time(float millis)
{
  millis /= 1000.0;
  float tau = millis * (1.0 - 2.0 / 3.0);
  releaseT = tau / (tau + 1.0 / SAMPLERATE) * UINT32_MAX;
  //log("Release: %f\n", millis);
}

void noteOn()
{
  if (RANDOM & 1) // Attack Random
  {
    randomA = ((random() % 1000) * shape) / 1000.0;
    //log("Shape: %f Random A: %f", shape, randomA);
  }
  if ((RANDOM >> 1) & 1) // Release Random
  {
    randomR = ((random() % 1000) * shape) / 1000.0;
    //log("Shape: %f Random R: %f", shape, randomR);
  }
  if ((RETRIGGER == 1) || ((RETRIGGER == 0) && (running == 0)))
  {
    xn = INT32_MAX;
    running = 1;
    a = attackT;
  }

  //log("Note On: Attack: %f %f %f %d\n", attack_controls, read_ADC_Normalized(ADC_ATTACK_CV), read_ADC_Normalized(ADC_ATTACK_POT), adcCalibration[ADC_ATTACK_CV]);
}

void noteOff()
{
  xn = 0;
  running = 1;
  a = releaseT;

  //log("Note Off: Release: %f\n", release);
}

/* USER CODE END 4 */

void Error_Handler(void)
{
}

/************************ (C) COPYRIGHT STMicroelectronics *****END OF FILE****/
